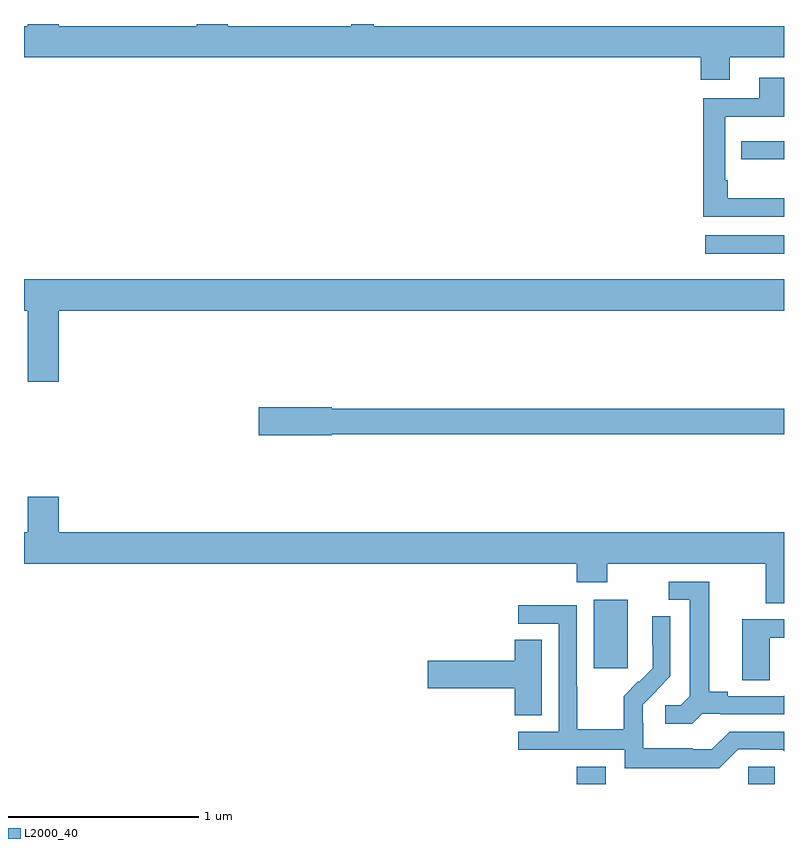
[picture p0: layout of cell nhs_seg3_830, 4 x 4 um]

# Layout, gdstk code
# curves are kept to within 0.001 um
import gdstk
lib = gdstk.Library(unit=1e-6, precision=1e-09)
def R(c, l, rs):  # rectangles x0, y0, x1, y1
    for r in rs: c.add(gdstk.rectangle(r[:2], r[2:], *l))
def P(c, l, *ps):  # polygons
    for p in ps: c.add(gdstk.Polygon(p, *l))
L2000_40 = (2000, 40)

nhs_seg3_830 = lib.new_cell('nhs_seg3_830')
R(nhs_seg3_830, L2000_40, [(155.909,722.4,156.061,722.491), (156.813,722.4,156.951,722.49), (155.999,723.009,156.178,723.37), (156.585,725.192,157,725.289), (156.775,725.687,157,725.784)])
P(nhs_seg3_830, L2000_40, [(156.563,726.107),(156.715,726.107),(156.715,726.224),(157,726.224),(157,726.388),(154.84,726.388),(154.84,726.4),(154.723,726.4),(154.723,726.388),(154.072,726.388),(154.072,726.4),(153.908,726.4),(153.908,726.388),(153.184,726.388),(153.184,726.4),(153.02,726.4),(153.02,726.388),(153,726.388),(153,726.224),(156.563,726.224)],
  [(157,725.483),(156.703,725.483),(156.703,725.578),(156.69,725.578),(156.69,725.913),(157,725.913),(157,726.118),(156.869,726.118),(156.869,726.009),(156.574,726.009),(156.574,725.385),(157,725.385)],
  [(153.184,724.892),(157,724.892),(157,725.056),(153,725.056),(153,724.892),(153.02,724.892),(153.02,724.518),(153.184,724.518)],
  [(154.62,724.24),(157,724.24),(157,724.376),(154.62,724.376),(154.62,724.382),(154.236,724.382),(154.236,724.235),(154.62,724.235)],
  [(157,723.724),(153.184,723.724),(153.184,723.913),(153.02,723.913),(153.02,723.724),(153,723.724),(153,723.56),(155.909,723.56),(155.909,723.461),(156.069,723.461),(156.069,723.56),(156.905,723.56),(156.905,723.352),(157,723.352)],
  [(156.57,722.769),(156.664,722.769),(156.664,722.766),(157,722.766),(157,722.864),(156.998,722.862),(156.703,722.862),(156.703,722.885),(156.607,722.885),(156.607,723.465),(156.393,723.465),(156.393,723.369),(156.503,723.369),(156.503,722.861),(156.456,722.814),(156.375,722.814),(156.375,722.717),(156.518,722.717)],
  [(156.759,722.583),(156.875,722.583),(156.875,722.58),(156.993,722.58),(157,722.573),(157,722.676),(156.714,722.676),(156.621,722.583),(156.521,722.583),(156.521,722.587),(156.258,722.587),(156.258,722.721),(156.256,722.721),(156.256,722.818),(156.402,722.966),(156.402,723.284),(156.306,723.284),(156.306,723.13),(156.308,723.13),(156.308,723.008),(156.237,722.937),(156.234,722.94),(156.157,722.863),(156.157,722.689),(155.913,722.689),(155.913,722.912),(155.91,722.912),(155.91,723.342),(155.601,723.342),(155.601,723.243),(155.814,723.243),(155.814,722.676),(155.601,722.676),(155.601,722.58),(156.162,722.58),(156.162,722.483),(156.659,722.483)],
  [(156.924,723.171),(157,723.171),(157,723.267),(156.779,723.267),(156.779,722.947),(156.924,722.947)],
  [(155.725,723.158),(155.582,723.158),(155.582,723.05),(155.124,723.05),(155.124,722.903),(155.582,722.903),(155.582,722.761),(155.725,722.761)])

lib.write_gds('nhs_seg3_830.gds')
